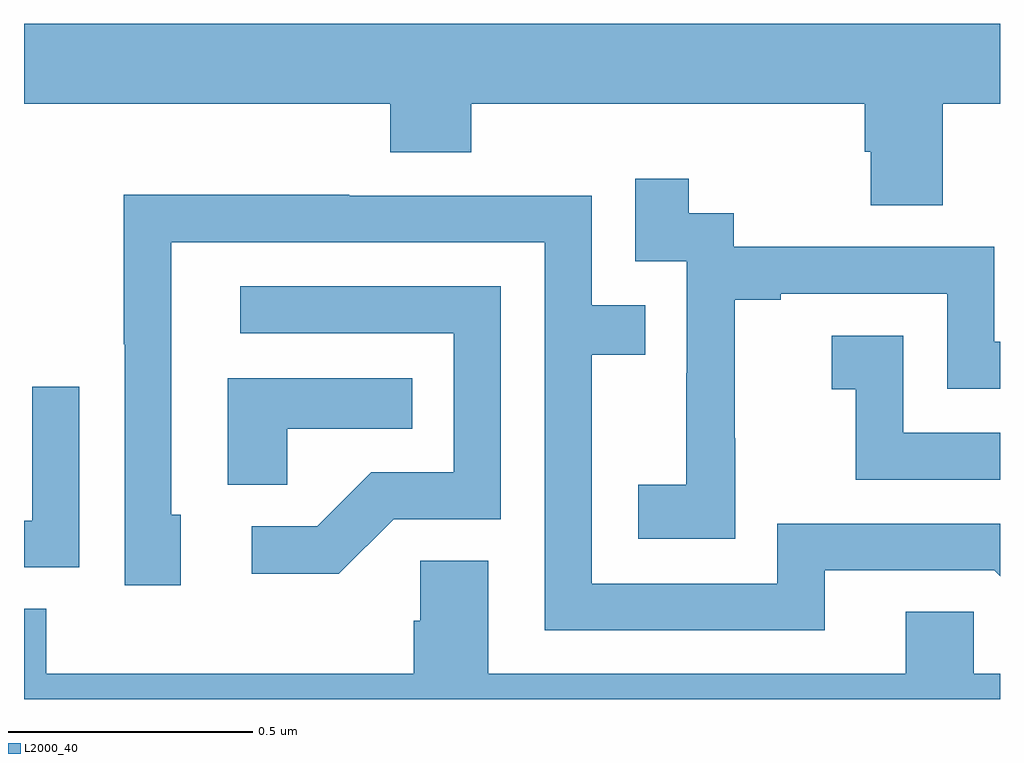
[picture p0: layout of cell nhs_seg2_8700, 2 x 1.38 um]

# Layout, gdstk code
import gdstk
lib = gdstk.Library(unit=1e-6, precision=1e-09)
def P(c, l, *ps):  # polygons
    for p in ps: c.add(gdstk.Polygon(p, *l))
L2000_40 = (2000, 40)

nhs_seg2_8700 = lib.new_cell('nhs_seg2_8700')
P(nhs_seg2_8700, L2000_40, [(221.883,597.02),(222,597.02),(222,597.184),(220,597.184),(220,597.02),(220.751,597.02),(220.751,596.921),(220.916,596.921),(220.916,597.02),(221.723,597.02),(221.723,596.922),(221.735,596.922),(221.735,596.812),(221.883,596.812)],
  [(221.457,596.335),(221.456,596.335),(221.456,596.619),(221.551,596.619),(221.551,596.631),(221.892,596.631),(221.892,596.436),(222,596.436),(222,596.532),(221.988,596.532),(221.988,596.727),(221.454,596.727),(221.454,596.796),(221.362,596.796),(221.362,596.866),(221.253,596.866),(221.253,596.697),(221.358,596.697),(221.358,596.468),(221.357,596.468),(221.357,596.239),(221.259,596.239),(221.259,596.129),(221.457,596.129)],
  [(221.641,596.064),(221.988,596.064),(222,596.052),(222,596.16),(221.544,596.16),(221.544,596.037),(221.163,596.037),(221.163,596.506),(221.273,596.506),(221.273,596.607),(221.163,596.607),(221.163,596.832),(220.667,596.832),(220.667,596.834),(220.204,596.834),(220.204,596.527),(220.206,596.527),(220.206,596.034),(220.321,596.034),(220.321,596.178),(220.302,596.178),(220.302,596.736),(221.067,596.736),(221.067,595.941),(221.641,595.941)],
  [(220.758,596.169),(220.977,596.169),(220.977,596.646),(220.443,596.646),(220.443,596.55),(220.881,596.55),(220.881,596.265),(220.712,596.265),(220.601,596.154),(220.467,596.154),(220.467,596.057),(220.645,596.057)],
  [(222,596.346),(221.802,596.346),(221.802,596.545),(221.655,596.545),(221.655,596.435),(221.704,596.435),(221.704,596.25),(222,596.25)],
  [(220.539,596.354),(220.796,596.354),(220.796,596.458),(220.418,596.458),(220.418,596.239),(220.539,596.239)],
  [(220.113,596.44),(220.017,596.44),(220.017,596.166),(220,596.166),(220,596.07),(220.113,596.07)],
  [(222,595.852),(221.946,595.852),(221.946,595.979),(221.807,595.979),(221.807,595.852),(220.951,595.852),(220.951,596.084),(220.812,596.084),(220.812,595.961),(220.799,595.961),(220.799,595.852),(220.046,595.852),(220.046,595.985),(220,595.985),(220,595.8),(222,595.8)])

lib.write_gds('nhs_seg2_8700.gds')
